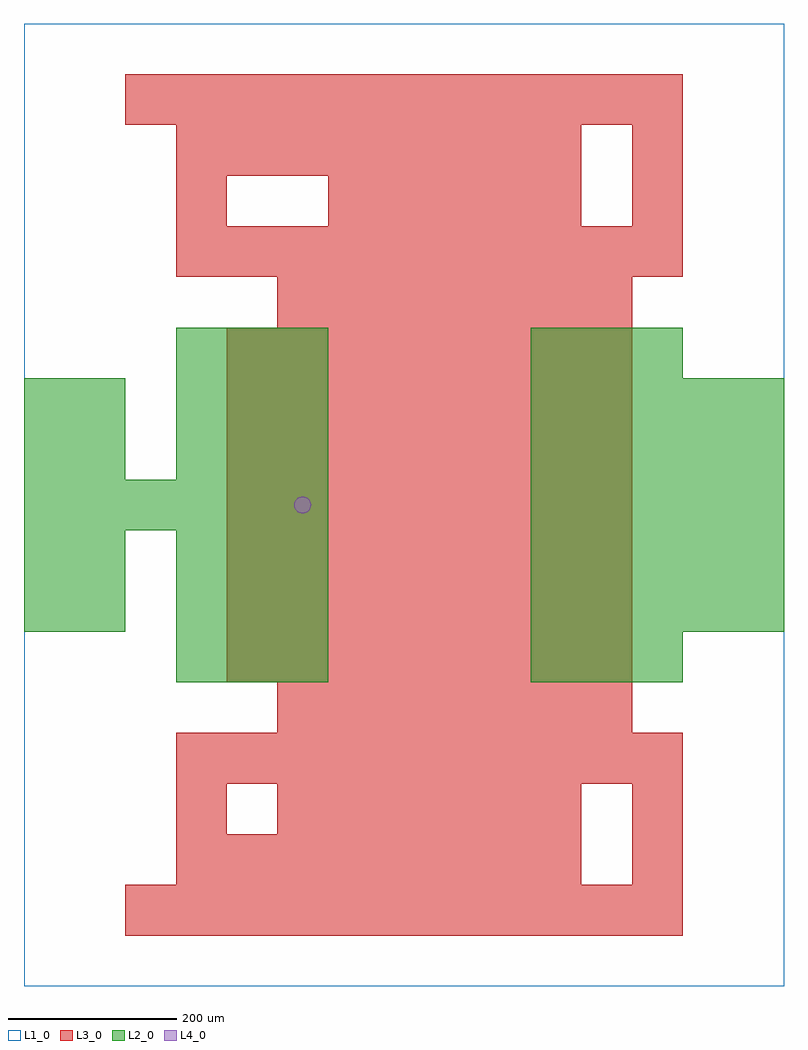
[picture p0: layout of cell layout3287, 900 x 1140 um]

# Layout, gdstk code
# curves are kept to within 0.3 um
import gdstk
lib = gdstk.Library(unit=1e-6, precision=1e-09)
def R(c, l, rs):  # rectangles x0, y0, x1, y1
    for r in rs: c.add(gdstk.rectangle(r[:2], r[2:], *l))
def A(c, l, x, y, w, h, nx, ny, dx, dy):  # array of equal rectangles
    R(c, l, [(x+i*dx, y+j*dy, x+i*dx+w, y+j*dy+h) for i in range(nx) for j in range(ny)])
def P(c, l, *ps):  # polygons
    for p in ps: c.add(gdstk.Polygon(p, *l))
L1_0 = (1, 0)
L2_0 = (2, 0)
L3_0 = (3, 0)
L4_0 = (4, 0)

layout3287 = lib.new_cell('layout3287')
R(layout3287, L1_0, [(0,0,900,1140)])
A(layout3287, L2_0, 180, 360, 60, 60, 3, 3, 60, 60)
A(layout3287, L2_0, 600, 360, 60, 60, 3, 2, 60, 360)
A(layout3287, L2_0, 600, 420, 60, 60, 5, 5, 60, 60)
A(layout3287, L2_0, 0, 540, 60, 60, 6, 1, 60, 0)
A(layout3287, L2_0, 180, 600, 60, 60, 3, 3, 60, 60)
R(layout3287, L2_0, [(0,420,60,480), (60,420,120,480), (0,480,60,540), (60,480,120,540), (0,600,60,660), (60,600,120,660), (0,660,60,720), (60,660,120,720)])
A(layout3287, L3_0, 120, 60, 60, 60, 11, 2, 60, 960)
A(layout3287, L3_0, 180, 120, 60, 60, 8, 2, 60, 840)
A(layout3287, L3_0, 300, 180, 60, 60, 6, 1, 60, 0)
A(layout3287, L3_0, 180, 240, 60, 60, 10, 2, 60, 600)
A(layout3287, L3_0, 300, 300, 60, 60, 7, 2, 60, 480)
A(layout3287, L3_0, 240, 360, 60, 60, 8, 7, 60, 60)
A(layout3287, L3_0, 360, 900, 60, 60, 5, 1, 60, 0)
R(layout3287, L3_0, [(720,120,780,180), (180,180,240,240), (720,180,780,240), (180,900,240,960), (720,900,780,960), (720,960,780,1020)])
P(layout3287, L4_0, [(340,570),(339.239,573.827),(337.071,577.071),(333.827,579.239),(330,580),(326.173,579.239),(322.929,577.071),(320.761,573.827),(320,570),(320.761,566.173),(322.929,562.929),(326.173,560.761),(330,560),(333.827,560.761),(337.071,562.929),(339.239,566.173)])

lib.write_gds('layout3287.gds')
